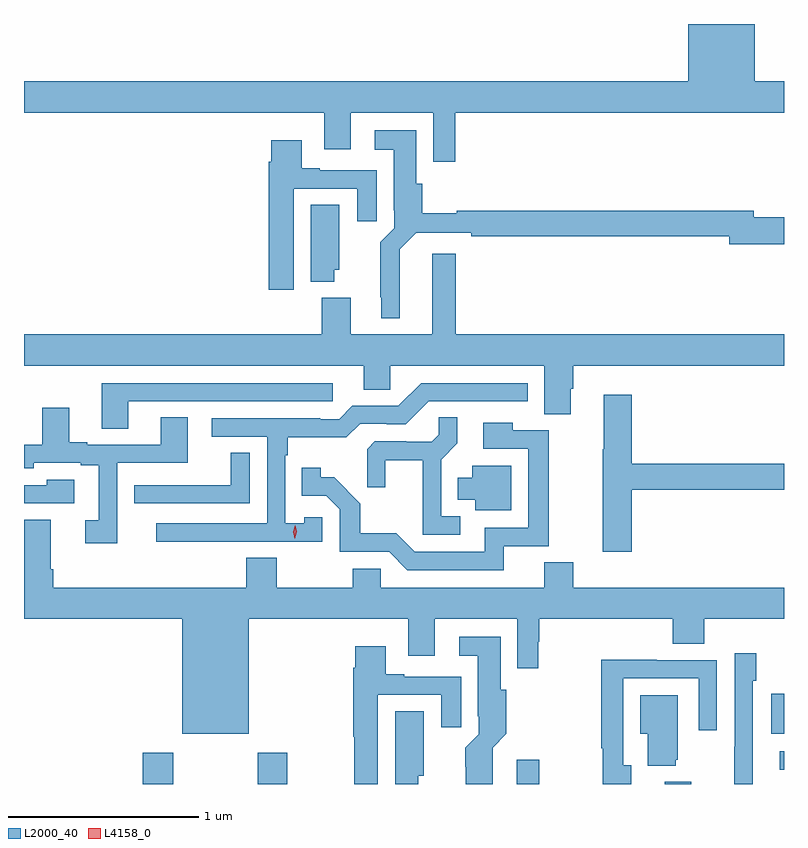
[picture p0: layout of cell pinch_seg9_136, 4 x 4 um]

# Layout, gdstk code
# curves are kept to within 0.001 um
import gdstk
lib = gdstk.Library(unit=1e-6, precision=1e-09)
def R(c, l, rs):  # rectangles x0, y0, x1, y1
    for r in rs: c.add(gdstk.rectangle(r[:2], r[2:], *l))
def P(c, l, *ps):  # polygons
    for p in ps: c.add(gdstk.Polygon(p, *l))
L2000_40 = (2000, 40)
L4158_0 = (4158, 0)

pinch_seg9_136 = lib.new_cell('pinch_seg9_136')
R(pinch_seg9_136, L2000_40, [(676.631,1242.17,676.791,1242.334), (677.236,1242.17,677.391,1242.334), (678.599,1242.17,678.717,1242.298), (679.379,1242.17,679.519,1242.181), (679.983,1242.246,680.006,1242.342), (679.94,1242.434,680.006,1242.646)])
P(pinch_seg9_136, L2000_40, [(678.275,1245.704),(680.006,1245.704),(680.006,1245.868),(679.852,1245.868),(679.852,1246.17),(679.502,1246.17),(679.502,1245.868),(676.006,1245.868),(676.006,1245.704),(677.585,1245.704),(677.585,1245.51),(677.725,1245.51),(677.725,1245.704),(678.159,1245.704),(678.159,1245.444),(678.275,1245.444)],
  [(677.983,1244.984),(678.07,1245.072),(678.361,1245.072),(678.361,1245.052),(679.718,1245.052),(679.718,1245.01),(680.006,1245.01),(680.006,1245.152),(679.846,1245.152),(679.846,1245.188),(678.284,1245.188),(678.284,1245.173),(678.101,1245.173),(678.101,1245.33),(678.07,1245.33),(678.07,1245.61),(677.853,1245.61),(677.853,1245.509),(677.951,1245.509),(677.951,1245.19),(677.955,1245.19),(677.955,1245.096),(677.881,1245.022),(677.881,1244.731),(677.885,1244.731),(677.885,1244.621),(677.983,1244.621)],
  [(677.425,1245.303),(677.759,1245.303),(677.759,1245.132),(677.863,1245.132),(677.863,1245.399),(677.563,1245.399),(677.563,1245.412),(677.467,1245.412),(677.467,1245.559),(677.306,1245.559),(677.306,1245.446),(677.294,1245.446),(677.294,1244.772),(677.425,1244.772)],
  [(677.638,1244.877),(677.665,1244.877),(677.665,1245.218),(677.516,1245.218),(677.516,1244.813),(677.638,1244.813)],
  [(678.883,1244.25),(678.896,1244.25),(678.896,1244.372),(680.006,1244.372),(680.006,1244.536),(678.278,1244.536),(678.278,1244.962),(678.155,1244.962),(678.155,1244.536),(677.725,1244.536),(677.725,1244.728),(677.573,1244.728),(677.573,1244.536),(676.006,1244.536),(676.006,1244.372),(677.795,1244.372),(677.795,1244.245),(677.934,1244.245),(677.934,1244.372),(678.743,1244.372),(678.743,1244.116),(678.883,1244.116)],
  [(676.555,1244.184),(677.632,1244.184),(677.632,1244.28),(676.415,1244.28),(676.415,1244.041),(676.555,1244.041)],
  [(677.093,1243.446),(677.577,1243.446),(677.577,1243.575),(677.481,1243.575),(677.481,1243.543),(677.382,1243.543),(677.382,1243.901),(677.395,1243.901),(677.395,1243.994),(677.702,1243.994),(677.775,1244.067),(677.914,1244.067),(677.914,1244.064),(678.015,1244.064),(678.135,1244.184),(678.658,1244.184),(678.658,1244.28),(678.096,1244.28),(677.976,1244.16),(677.733,1244.16),(677.664,1244.091),(677.564,1244.091),(677.564,1244.094),(676.995,1244.094),(676.995,1243.998),(677.286,1243.998),(677.286,1243.542),(676.701,1243.542),(676.701,1243.444),(677.093,1243.444)],
  [(679.205,1243.72),(680.006,1243.72),(680.006,1243.856),(679.205,1243.856),(679.205,1244.218),(679.058,1244.218),(679.058,1243.933),(679.051,1243.933),(679.051,1243.392),(679.205,1243.392)],
  [(676.497,1243.86),(676.867,1243.86),(676.867,1244.099),(676.727,1244.099),(676.727,1243.956),(676.339,1243.956),(676.339,1243.969),(676.243,1243.969),(676.243,1244.149),(676.103,1244.149),(676.103,1243.956),(676.006,1243.956),(676.006,1243.833),(676.056,1243.833),(676.056,1243.86),(676.304,1243.86),(676.304,1243.848),(676.4,1243.848),(676.4,1243.557),(676.329,1243.557),(676.329,1243.437),(676.497,1243.437)],
  [(678.301,1243.578),(678.201,1243.578),(678.201,1243.877),(678.287,1243.963),(678.287,1244.099),(678.189,1244.099),(678.189,1244.008),(678.152,1243.971),(678.018,1243.971),(678.018,1243.974),(677.853,1243.974),(677.812,1243.933),(677.812,1243.731),(677.906,1243.731),(677.906,1243.874),(678.104,1243.874),(678.104,1243.482),(678.301,1243.482)],
  [(678.53,1243.422),(678.769,1243.422),(678.769,1244.031),(678.579,1244.031),(678.579,1244.071),(678.423,1244.071),(678.423,1243.935),(678.66,1243.935),(678.66,1243.518),(678.431,1243.518),(678.431,1243.392),(678.063,1243.392),(677.965,1243.491),(677.776,1243.491),(677.776,1243.646),(677.638,1243.784),(677.568,1243.784),(677.568,1243.834),(677.467,1243.834),(677.467,1243.686),(677.598,1243.686),(677.667,1243.617),(677.667,1243.392),(677.928,1243.392),(678.024,1243.296),(678.53,1243.296)],
  [(677.193,1243.913),(677.095,1243.913),(677.095,1243.743),(676.699,1243.743),(676.699,1243.742),(676.587,1243.742),(676.587,1243.647),(677.193,1243.647)],
  [(678.571,1243.846),(678.365,1243.846),(678.365,1243.783),(678.29,1243.783),(678.29,1243.667),(678.38,1243.667),(678.38,1243.61),(678.571,1243.61)],
  [(676.27,1243.771),(676.125,1243.771),(676.125,1243.743),(676.006,1243.743),(676.006,1243.647),(676.27,1243.647)],
  [(678.743,1243.337),(678.743,1243.204),(677.883,1243.204),(677.883,1243.302),(677.737,1243.302),(677.737,1243.204),(677.337,1243.204),(677.337,1243.361),(677.177,1243.361),(677.177,1243.204),(676.16,1243.204),(676.16,1243.3),(676.147,1243.3),(676.147,1243.561),(676.006,1243.561),(676.006,1243.448),(676.007,1243.448),(676.007,1243.204),(676.006,1243.204),(676.006,1243.04),(676.838,1243.04),(676.838,1242.434),(677.188,1242.434),(677.188,1243.04),(678.029,1243.04),(678.029,1242.846),(678.169,1242.846),(678.169,1243.04),(678.603,1243.04),(678.603,1242.78),(678.712,1242.78),(678.712,1242.918),(678.719,1242.918),(678.719,1243.04),(679.421,1243.04),(679.421,1242.907),(679.586,1242.907),(679.586,1243.04),(680.006,1243.04),(680.006,1243.204),(678.896,1243.204),(678.896,1243.337)],
  [(678.472,1242.263),(678.473,1242.362),(678.545,1242.434),(678.545,1242.666),(678.514,1242.666),(678.514,1242.946),(678.297,1242.946),(678.297,1242.845),(678.395,1242.845),(678.395,1242.526),(678.399,1242.526),(678.399,1242.432),(678.329,1242.362),(678.33,1242.17),(678.472,1242.17)],
  [(677.869,1242.639),(678.203,1242.639),(678.203,1242.468),(678.307,1242.468),(678.307,1242.735),(678.007,1242.735),(678.007,1242.748),(677.911,1242.748),(677.911,1242.895),(677.75,1242.895),(677.75,1242.782),(677.738,1242.782),(677.738,1242.42),(677.743,1242.42),(677.743,1242.17),(677.869,1242.17)],
  [(679.842,1242.714),(679.861,1242.714),(679.861,1242.859),(679.746,1242.859),(679.746,1242.365),(679.744,1242.365),(679.744,1242.17),(679.842,1242.17)],
  [(679.201,1242.27),(679.161,1242.27),(679.161,1242.726),(679.557,1242.726),(679.557,1242.453),(679.653,1242.453),(679.653,1242.822),(679.337,1242.822),(679.337,1242.824),(679.045,1242.824),(679.045,1242.358),(679.053,1242.358),(679.053,1242.17),(679.201,1242.17)],
  [(679.436,1242.297),(679.447,1242.297),(679.447,1242.637),(679.25,1242.637),(679.25,1242.434),(679.289,1242.434),(679.289,1242.266),(679.436,1242.266)],
  [(678.082,1242.213),(678.109,1242.213),(678.109,1242.554),(677.96,1242.554),(677.96,1242.17),(678.082,1242.17)])
P(pinch_seg9_136, L4158_0, [(677.432,1243.461),(677.432,1243.461),(677.422,1243.498),(677.433,1243.533),(677.433,1243.533),(677.433,1243.533),(677.442,1243.497),(677.432,1243.461)])

lib.write_gds('pinch_seg9_136.gds')
